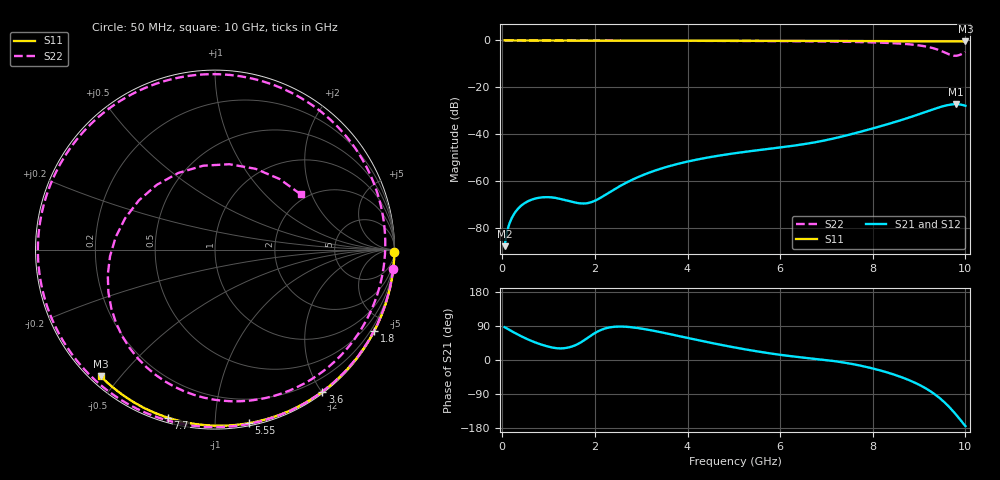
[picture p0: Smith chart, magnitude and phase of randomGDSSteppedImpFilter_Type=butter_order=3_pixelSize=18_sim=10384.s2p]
! freq	dB(S11)	phase(S11)	dB(S12)	phase(S12)
!  dB(S21)	phase(S21)	dB(S22)	phase(S22)
!S-par simulation data
#  GHz  S  DB  R 50
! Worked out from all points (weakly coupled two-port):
!   200 points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, 50 MHz to 10 GHz, reference 50 ohm
!   highest |S21| = -27.14 dB at 9.8 GHz (marker M1); lowest = -87.6 dB at 50 MHz (marker M2)
!   lowest |S11| = -0.4 dB at 10 GHz (marker M3), VSWR 39.92, Z = 1.5 - j22.2 ohm
!   |S11| at or under -10 dB: nowhere
!   |S22| runs from -6.5 to 0.0 dB; largest |S21 - S12| = 0
!   S11 on the Smith chart (normalised r, x): 50 MHz: open; 1.8 GHz: 0.04, -4.15; 3.6 GHz: 0.02, -2.01; 5.55 GHz: 0.02, -1.21; 7.7 GHz: 0.02, -0.76; 10 GHz: 0.03, -0.44
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0.05  -0.00 -0.8  -87.57 86.5  -87.57 86.5  -0.00 -6.3
0.4  -0.01 -6.1  -70.46 63.2  -70.46 63.2  -0.06 -48.4
0.75  -0.01 -11.4  -67.12 44.6  -67.12 44.6  -0.09 -84.1
1.25  -0.02 -18.9  -67.45 30.6  -67.45 30.6  -0.11 -123.0
1.75  -0.03 -26.3  -69.41 50.7  -69.41 50.7  -0.11 -151.7
1.8  -0.03 -27.1  -69.36 54.7  -69.36 54.7  -0.11 -154.2
2.55  -0.05 -38.0  -61.89 88.3  -61.89 88.3  -0.12 173.2
3.4  -0.07 -50.2  -54.72 73.9  -54.72 73.9  -0.14 142.0
3.6  -0.07 -53.0  -53.54 68.8  -53.54 68.8  -0.14 134.9
4.35  -0.09 -63.3  -50.15 49.2  -50.15 49.2  -0.17 108.7
5.05  -0.11 -72.6  -47.93 32.4  -47.93 32.4  -0.21 83.3
5.55  -0.13 -79.1  -46.64 21.8  -46.64 21.8  -0.25 64.2
6.7  -0.18 -93.5  -43.54 3.7  -43.54 3.7  -0.39 16.6
7.2  -0.21 -99.6  -41.52 -3.5  -41.52 -3.5  -0.50 -6.0
7.7  -0.24 -105.6  -39.04 -14.0  -39.04 -14.0  -0.67 -30.1
8.35  -0.29 -113.2  -35.47 -34.2  -35.47 -34.2  -1.07 -64.9
8.95  -0.34 -120.1  -31.73 -62.3  -31.73 -62.3  -1.97 -106.4
9.2  -0.37 -123.0  -30.03 -79.0  -30.03 -79.0  -2.79 -131.0
9.4  -0.39 -125.2  -28.70 -96.1  -28.70 -96.1  -3.88 -158.3
9.6  -0.40 -127.5  -27.60 -117.7  -27.60 -117.7  -5.51 160.7
9.8  -0.42 -129.7  -27.14 -144.4  -27.14 -144.4  -6.52 98.1
10  -0.44 -132.0  -27.81 -174.4  -27.81 -174.4  -4.90 32.7
